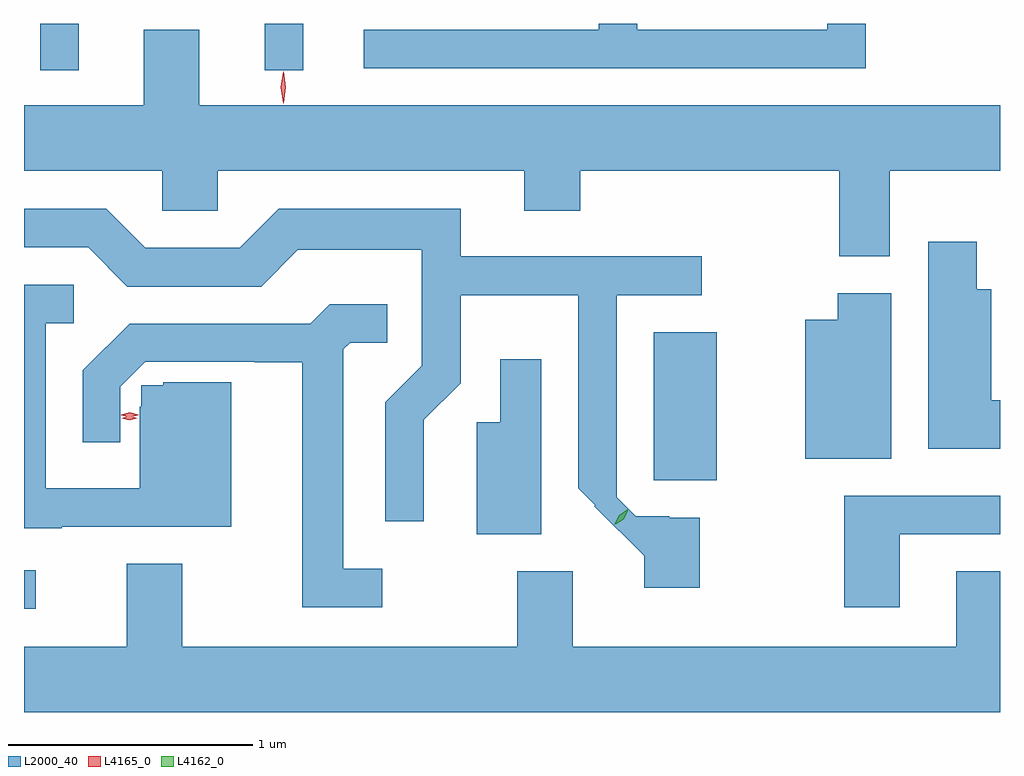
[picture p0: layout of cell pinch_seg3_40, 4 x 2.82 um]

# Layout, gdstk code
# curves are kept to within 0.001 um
import gdstk
lib = gdstk.Library(unit=1e-6, precision=1e-09)
def R(c, l, rs):  # rectangles x0, y0, x1, y1
    for r in rs: c.add(gdstk.rectangle(r[:2], r[2:], *l))
def P(c, l, *ps):  # polygons
    for p in ps: c.add(gdstk.Polygon(p, *l))
L2000_40 = (2000, 40)
L4162_0 = (4162, 0)
L4165_0 = (4165, 0)

pinch_seg3_40 = lib.new_cell('pinch_seg3_40')
R(pinch_seg3_40, L2000_40, [(1126.6,1179.721,1126.648,1179.879), (1129.181,1180.246,1129.439,1180.854), (1126.666,1181.928,1126.824,1182.118), (1127.586,1181.928,1127.744,1182.118)])
P(pinch_seg3_40, L2000_40, [(1130.049,1182.118),(1129.891,1182.118),(1129.891,1182.094),(1129.114,1182.094),(1129.114,1182.118),(1128.956,1182.118),(1128.956,1182.094),(1127.993,1182.094),(1127.993,1181.936),(1130.049,1181.936)],
  [(1130.149,1181.516),(1130.6,1181.516),(1130.6,1181.784),(1127.319,1181.784),(1127.319,1182.094),(1127.091,1182.094),(1127.091,1181.784),(1126.6,1181.784),(1126.6,1181.516),(1127.166,1181.516),(1127.166,1181.351),(1127.394,1181.351),(1127.394,1181.516),(1128.651,1181.516),(1128.651,1181.351),(1128.879,1181.351),(1128.879,1181.516),(1129.941,1181.516),(1129.941,1181.166),(1130.149,1181.166)],
  [(1129.369,1180.094),(1129.245,1180.094),(1129.245,1180.099),(1129.107,1180.099),(1129.029,1180.177),(1129.029,1181.006),(1129.378,1181.006),(1129.378,1181.164),(1128.389,1181.164),(1128.389,1181.359),(1127.644,1181.359),(1127.484,1181.199),(1127.097,1181.199),(1126.937,1181.359),(1126.6,1181.359),(1126.6,1181.201),(1126.864,1181.201),(1127.024,1181.041),(1127.572,1181.041),(1127.722,1181.191),(1128.231,1181.191),(1128.231,1180.717),(1128.081,1180.567),(1128.081,1180.078),(1128.239,1180.078),(1128.239,1180.494),(1128.389,1180.644),(1128.389,1181.006),(1128.871,1181.006),(1128.871,1180.215),(1128.942,1180.144),(1128.938,1180.141),(1129.141,1179.938),(1129.141,1179.806),(1129.369,1179.806)],
  [(1130.6,1180.574),(1130.564,1180.574),(1130.564,1181.029),(1130.504,1181.029),(1130.504,1181.224),(1130.306,1181.224),(1130.306,1180.376),(1130.6,1180.376)],
  [(1126.755,1180.056),(1127.449,1180.056),(1127.449,1180.649),(1127.171,1180.649),(1127.171,1180.636),(1127.081,1180.636),(1127.081,1180.548),(1127.074,1180.548),(1127.074,1180.214),(1126.689,1180.214),(1126.689,1180.891),(1126.803,1180.891),(1126.803,1181.049),(1126.6,1181.049),(1126.6,1180.051),(1126.755,1180.051)],
  [(1130.154,1181.014),(1129.936,1181.014),(1129.936,1180.904),(1129.801,1180.904),(1129.801,1180.336),(1130.154,1180.336)],
  [(1128.068,1179.884),(1127.909,1179.884),(1127.909,1180.784),(1127.937,1180.811),(1128.088,1180.811),(1128.088,1180.969),(1127.854,1180.969),(1127.774,1180.889),(1127.034,1180.889),(1126.841,1180.697),(1126.841,1180.403),(1126.995,1180.403),(1126.995,1180.63),(1127.097,1180.732),(1127.741,1180.731),(1127.741,1179.726),(1128.068,1179.726)],
  [(1128.719,1180.743),(1128.551,1180.743),(1128.551,1180.484),(1128.456,1180.484),(1128.456,1180.026),(1128.719,1180.026)],
  [(1130.189,1180.026),(1130.6,1180.026),(1130.6,1180.184),(1129.961,1180.184),(1129.961,1179.726),(1130.189,1179.726)],
  [(1130.6,1179.874),(1130.421,1179.874),(1130.421,1179.564),(1128.849,1179.564),(1128.849,1179.874),(1128.621,1179.874),(1128.621,1179.564),(1127.249,1179.564),(1127.249,1179.904),(1127.021,1179.904),(1127.021,1179.564),(1126.6,1179.564),(1126.6,1179.296),(1130.6,1179.296)])
P(pinch_seg3_40, L4162_0, [(1129.019,1180.064),(1129.019,1180.064),(1129.04,1180.103),(1129.075,1180.129),(1129.076,1180.129),(1129.076,1180.128),(1129.055,1180.09),(1129.02,1180.064)],
  [(1129.025,1180.067),(1129.025,1180.068),(1129.042,1180.101),(1129.073,1180.122),(1129.074,1180.122),(1129.074,1180.122),(1129.057,1180.088),(1129.026,1180.067)])
P(pinch_seg3_40, L4165_0, [(1127.663,1181.792),(1127.663,1181.793),(1127.653,1181.857),(1127.663,1181.921),(1127.663,1181.922),(1127.664,1181.921),(1127.673,1181.857),(1127.664,1181.793)],
  [(1127.032,1180.492),(1127.001,1180.502),(1127,1180.502),(1127.001,1180.502),(1127.032,1180.512),(1127.064,1180.502),(1127.064,1180.502),(1127.064,1180.501)],
  [(1127.034,1180.505),(1126.999,1180.514),(1126.998,1180.515),(1126.999,1180.515),(1127.034,1180.525),(1127.068,1180.515),(1127.069,1180.515),(1127.068,1180.514)])

lib.write_gds('pinch_seg3_40.gds')
